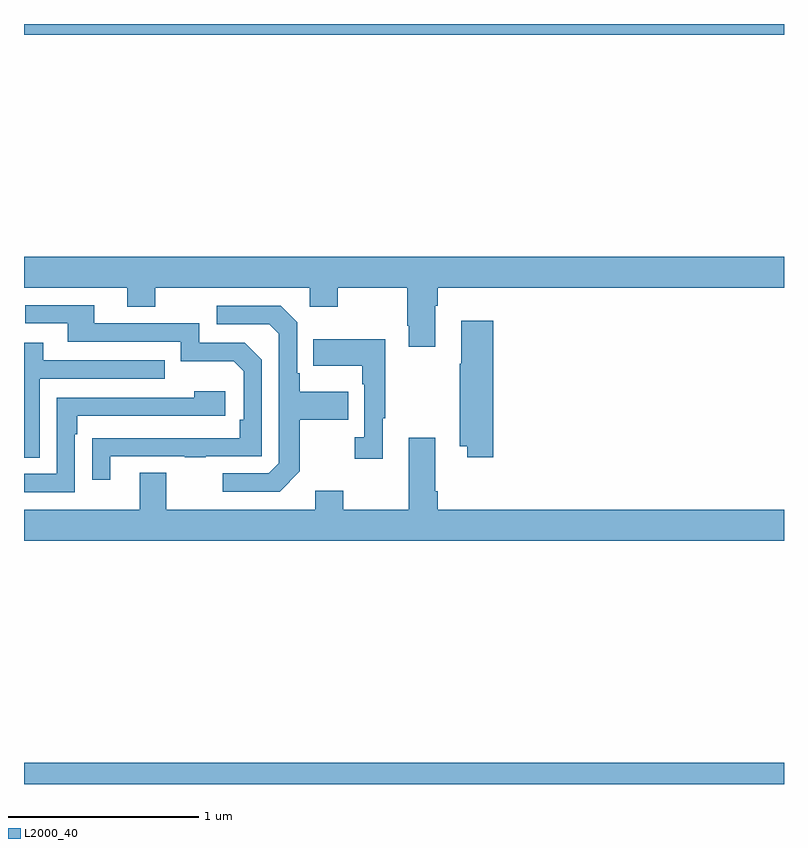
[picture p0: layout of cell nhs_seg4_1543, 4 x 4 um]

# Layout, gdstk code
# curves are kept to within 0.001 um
import gdstk
lib = gdstk.Library(unit=1e-6, precision=1e-09)
def R(c, l, rs):  # rectangles x0, y0, x1, y1
    for r in rs: c.add(gdstk.rectangle(r[:2], r[2:], *l))
def P(c, l, *ps):  # polygons
    for p in ps: c.add(gdstk.Polygon(p, *l))
L2000_40 = (2000, 40)

nhs_seg4_1543 = lib.new_cell('nhs_seg4_1543')
R(nhs_seg4_1543, L2000_40, [(191,768.9,195,769.012), (191,772.844,195,772.9)])
P(nhs_seg4_1543, L2000_40, [(193.165,771.416),(193.178,771.416),(193.178,771.512),(195,771.512),(195,771.676),(191,771.676),(191,771.512),(191.543,771.512),(191.543,771.413),(191.691,771.413),(191.691,771.512),(192.504,771.512),(192.504,771.413),(192.651,771.413),(192.651,771.512),(193.018,771.512),(193.018,771.313),(193.025,771.313),(193.025,771.201),(193.165,771.201)],
  [(191.455,770.625),(191.845,770.625),(191.845,770.62),(191.957,770.62),(191.957,770.625),(192.252,770.625),(192.252,771.132),(192.162,771.222),(191.922,771.222),(191.922,771.324),(191.371,771.324),(191.371,771.42),(191.007,771.42),(191.007,771.324),(191.231,771.324),(191.231,771.228),(191.826,771.228),(191.826,771.125),(192.103,771.125),(192.156,771.072),(192.156,770.818),(192.136,770.818),(192.136,770.721),(191.359,770.72),(191.359,770.502),(191.455,770.502)],
  [(192.451,770.545),(192.451,770.818),(192.707,770.818),(192.707,770.965),(192.451,770.965),(192.451,771.061),(192.438,771.061),(192.438,771.33),(192.351,771.417),(192.015,771.417),(192.015,771.321),(192.291,771.321),(192.342,771.27),(192.342,770.589),(192.288,770.535),(192.045,770.535),(192.045,770.439),(192.345,770.439)],
  [(193.469,771.337),(193.301,771.337),(193.301,771.113),(193.294,771.113),(193.294,770.678),(193.334,770.678),(193.334,770.619),(193.469,770.619)],
  [(192.889,770.825),(192.901,770.825),(192.901,771.241),(192.523,771.241),(192.523,771.101),(192.78,771.101),(192.78,771.005),(192.792,771.005),(192.792,770.726),(192.741,770.726),(192.741,770.613),(192.889,770.613)],
  [(191.082,771.033),(191.741,771.033),(191.741,771.129),(191.101,771.129),(191.101,771.223),(191,771.223),(191,770.617),(191.082,770.617)],
  [(191.268,770.741),(191.281,770.741),(191.281,770.838),(192.058,770.838),(192.058,770.968),(191.897,770.968),(191.897,770.934),(191.172,770.934),(191.172,770.532),(191,770.532),(191,770.436),(191.268,770.436)],
  [(195,770.344),(193.178,770.344),(193.178,770.44),(193.165,770.44),(193.165,770.722),(193.025,770.722),(193.025,770.344),(192.681,770.344),(192.681,770.443),(192.533,770.443),(192.533,770.344),(191.749,770.344),(191.749,770.539),(191.609,770.539),(191.609,770.344),(191,770.344),(191,770.18),(195,770.18)])

lib.write_gds('nhs_seg4_1543.gds')
